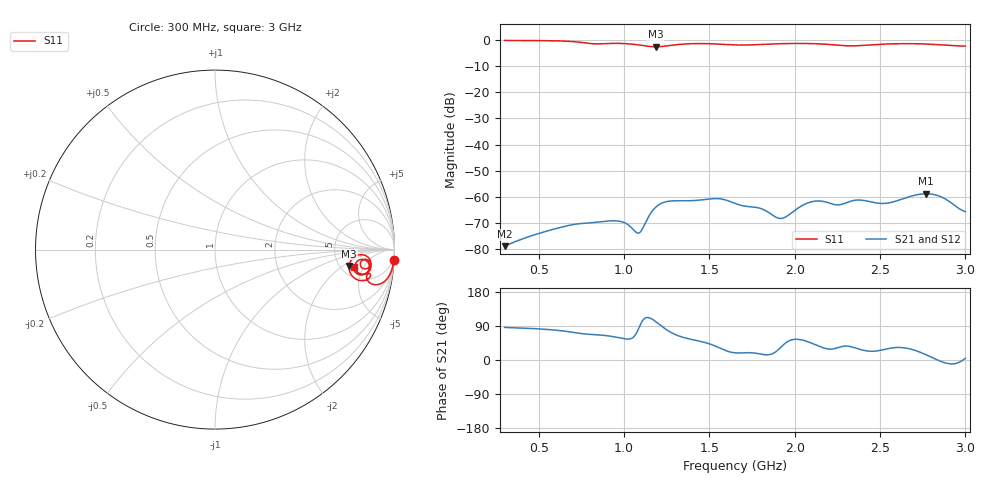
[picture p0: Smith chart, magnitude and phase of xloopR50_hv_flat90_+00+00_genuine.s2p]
! xloopR50_hv_flat90_+00+00_genuine, gap C 0.80 pF
! simulated by sim/fixtures_fdtd.py (S12 = S21, S22 not computed)
# HZ S RI R 50
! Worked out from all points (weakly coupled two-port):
!   541 points, 300 MHz to 3 GHz, reference 50 ohm
!   highest |S21| = -58.94 dB at 2.77 GHz (marker M1); lowest = -79.1 dB at 300 MHz (marker M2)
!   lowest |S11| = -2.5 dB at 1.185 GHz (marker M3), VSWR 7.10, Z = 301 - j126 ohm
!   |S11| at or under -10 dB: nowhere
!   |S22| runs from - to - dB; largest |S21 - S12| = 0
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3e8  0.9963 -0.0606  7.7e-06 0.000111  7.7e-06 0.000111  0 0
5.4e8  0.9809 -0.125  3.37e-05 0.000211  3.37e-05 0.000211  0 0
7.5e8  0.893 -0.1956  0.000105 0.000284  0.000105 0.000284  0 0
8.25e8  0.8452 -0.1593  0.000123 0.000293  0.000123 0.000293  0 0
9.7e8  0.864 -0.1514  0.000175 0.000287  0.000175 0.000287  0 0
1.085e9  0.8 -0.1707  2.54e-05 0.000197  2.54e-05 0.000197  0 0
1.185e9  0.7475 -0.0907  -0.000123 0.000609  -0.000123 0.000609  0 0
1.2e9  0.7513 -0.0746  -7.38e-05 0.000678  -7.38e-05 0.000678  0 0
1.26e9  0.7909 -0.033  0.000187 0.00079  0.000187 0.00079  0 0
1.375e9  0.8592 -0.05  0.00046 0.00069  0.00046 0.00069  0 0
1.53e9  0.8491 -0.1047  0.000724 0.000557  0.000724 0.000557  0 0
1.65e9  0.8113 -0.0911  0.000699 0.00024  0.000699 0.00024  0 0
1.8e9  0.8349 -0.0544  0.000569 0.000158  0.000569 0.000158  0 0
1.92e9  0.8631 -0.0694  0.000314 0.000213  0.000314 0.000213  0 0
2.1e9  0.8602 -0.1185  0.00057 0.000554  0.00057 0.000554  0 0
2.25e9  0.8003 -0.1305  0.000584 0.000367  0.000584 0.000367  0 0
2.32e9  0.78 -0.0965  0.000647 0.000469  0.000647 0.000469  0 0
2.38e9  0.7917 -0.0659  0.000754 0.000407  0.000754 0.000407  0 0
2.55e9  0.8519 -0.0702  0.00065 0.000379  0.00065 0.000379  0 0
2.77e9  0.8415 -0.1327  0.0011 0.000269  0.0011 0.000269  0 0
2.86e9  0.8079 -0.1408  0.000977 -7.43e-05  0.000977 -7.43e-05  0 0
3e9  0.7724 -0.095  0.000511 3.93e-05  0.000511 3.93e-05  0 0
